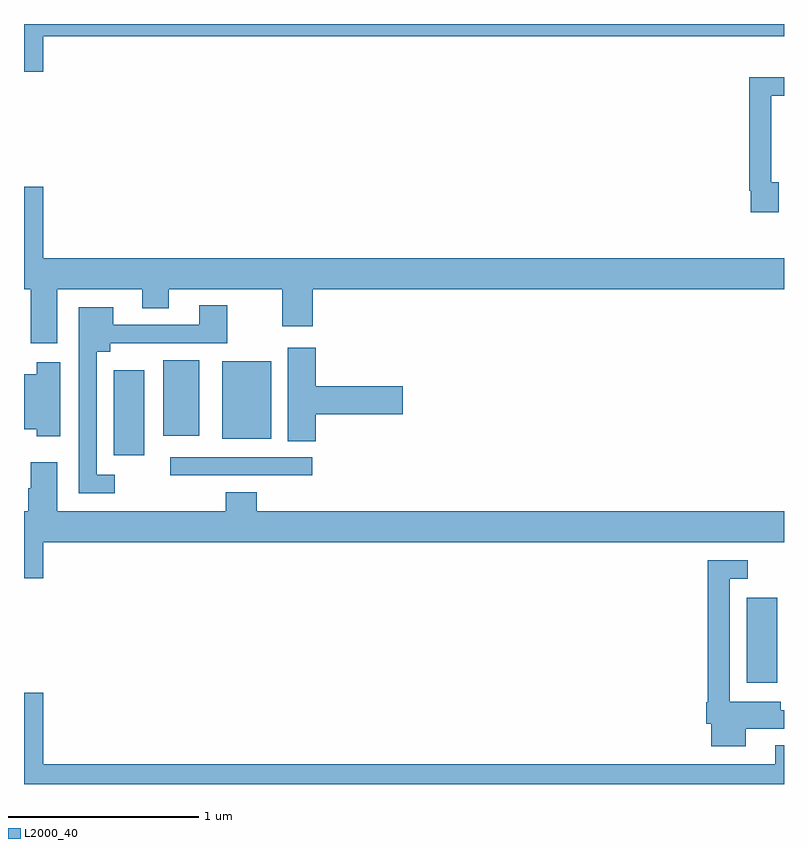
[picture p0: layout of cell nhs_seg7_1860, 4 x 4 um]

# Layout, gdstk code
import gdstk
lib = gdstk.Library(unit=1e-6, precision=1e-09)
def R(c, l, rs):  # rectangles x0, y0, x1, y1
    for r in rs: c.add(gdstk.rectangle(r[:2], r[2:], *l))
def P(c, l, *ps):  # polygons
    for p in ps: c.add(gdstk.Polygon(p, *l))
L2000_40 = (2000, 40)

nhs_seg7_1860 = lib.new_cell('nhs_seg7_1860')
R(nhs_seg7_1860, L2000_40, [(240.803,1010.532,240.964,1010.98), (237.771,1011.624,238.516,1011.72), (237.473,1011.729,237.634,1012.177), (238.043,1011.818,238.3,1012.225), (237.734,1011.833,237.922,1012.231)])
P(nhs_seg7_1860, L2000_40, [(237.1,1013.936),(241,1013.936),(241,1014),(237,1014),(237,1013.748),(237.1,1013.748)],
  [(240.973,1013.166),(240.933,1013.166),(240.933,1013.622),(241,1013.622),(241,1013.72),(240.817,1013.72),(240.817,1013.122),(240.825,1013.122),(240.825,1013.01),(240.973,1013.01)],
  [(237.175,1012.604),(237.623,1012.604),(237.623,1012.505),(237.763,1012.505),(237.763,1012.604),(238.36,1012.604),(238.36,1012.41),(238.52,1012.41),(238.52,1012.604),(241,1012.604),(241,1012.768),(237.1,1012.768),(237.1,1013.143),(237,1013.143),(237,1012.604),(237.035,1012.604),(237.035,1012.32),(237.175,1012.32)],
  [(237.478,1011.627),(237.384,1011.627),(237.384,1012.274),(237.454,1012.274),(237.454,1012.32),(238.071,1012.32),(238.071,1012.519),(237.923,1012.519),(237.923,1012.416),(237.469,1012.416),(237.469,1012.51),(237.288,1012.51),(237.288,1011.531),(237.478,1011.531)],
  [(238.535,1011.947),(238.993,1011.947),(238.993,1012.094),(238.535,1012.094),(238.535,1012.297),(238.388,1012.297),(238.388,1011.805),(238.535,1011.805)],
  [(237.19,1012.219),(237.068,1012.219),(237.068,1012.156),(237,1012.156),(237,1011.866),(237.068,1011.866),(237.068,1011.83),(237.19,1011.83)],
  [(237.1,1011.272),(241,1011.272),(241,1011.436),(238.226,1011.436),(238.226,1011.535),(238.061,1011.535),(238.061,1011.436),(237.175,1011.436),(237.175,1011.694),(237.035,1011.694),(237.035,1011.557),(237.023,1011.557),(237.023,1011.436),(237,1011.436),(237,1011.084),(237.1,1011.084)],
  [(240.799,1010.292),(241,1010.292),(241,1010.388),(240.982,1010.388),(240.982,1010.434),(240.714,1010.434),(240.714,1011.081),(240.808,1011.081),(240.808,1011.177),(240.598,1011.177),(240.598,1010.43),(240.59,1010.43),(240.59,1010.316),(240.617,1010.316),(240.617,1010.198),(240.799,1010.198)],
  [(237.1,1010.479),(237,1010.479),(237,1010),(241,1010),(241,1010.203),(240.953,1010.203),(240.953,1010.104),(237.1,1010.104)])

lib.write_gds('nhs_seg7_1860.gds')
